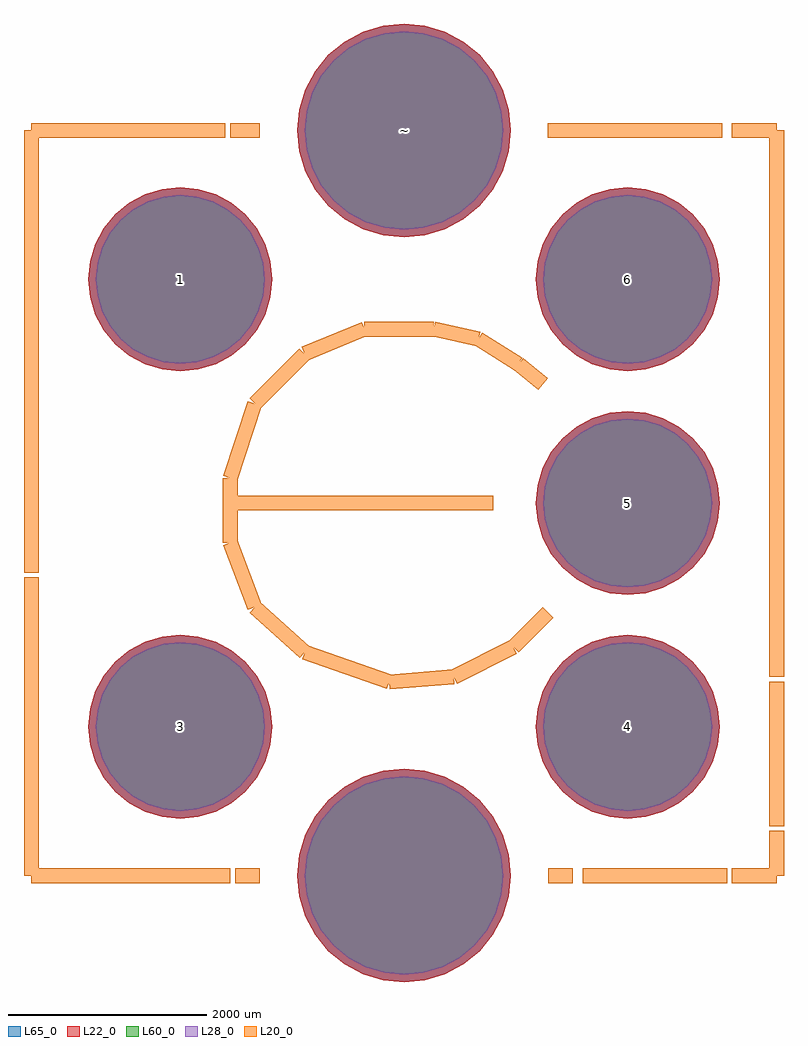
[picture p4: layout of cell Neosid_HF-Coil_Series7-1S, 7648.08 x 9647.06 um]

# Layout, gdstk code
import gdstk
lib = gdstk.Library(unit=1e-6, precision=1e-09)
def P(c, l, *ps):  # polygons
    for p in ps: c.add(gdstk.Polygon(p, *l))
L20_0 = (20, 0)
L22_0 = (22, 0)
L28_0 = (28, 0)
L60_0 = (60, 0)
L65_0 = (65, 0)

neosid_hf_coil_series7_1 = lib.new_cell('Neosid_HF-Coil_Series7-1S')
P(neosid_hf_coil_series7_1, L22_0, [(1074.49,-3749.04),(1053.844,-3539.417),(992.699,-3337.85),(893.406,-3152.085),(759.779,-2989.261),(596.955,-2855.634),(411.19,-2756.341),(209.623,-2695.196),(0,-2674.55),(-209.623,-2695.196),(-411.19,-2756.341),(-596.955,-2855.634),(-759.779,-2989.261),(-893.406,-3152.085),(-992.699,-3337.85),(-1053.844,-3539.417),(-1074.49,-3749.04),(-1053.844,-3958.663),(-992.699,-4160.23),(-893.406,-4345.995),(-759.779,-4508.819),(-596.955,-4642.446),(-411.19,-4741.739),(-209.623,-4802.884),(0,-4823.53),(209.623,-4802.884),(411.19,-4741.739),(596.955,-4642.446),(759.779,-4508.819),(893.406,-4345.995),(992.699,-4160.23),(1053.844,-3958.663)],
  [(1074.49,3749.04),(1053.844,3958.663),(992.699,4160.23),(893.406,4345.995),(759.779,4508.819),(596.955,4642.446),(411.19,4741.739),(209.623,4802.884),(0,4823.53),(-209.623,4802.884),(-411.19,4741.739),(-596.955,4642.446),(-759.779,4508.819),(-893.406,4345.995),(-992.699,4160.23),(-1053.844,3958.663),(-1074.49,3749.04),(-1053.844,3539.417),(-992.699,3337.85),(-893.406,3152.085),(-759.779,2989.261),(-596.955,2855.634),(-411.19,2756.341),(-209.623,2695.196),(0,2674.55),(209.623,2695.196),(411.19,2756.341),(596.955,2855.634),(759.779,2989.261),(893.406,3152.085),(992.699,3337.85),(1053.844,3539.417)],
  [(3175.07,-2250.44),(3157.303,-2070.054),(3104.687,-1896.599),(3019.242,-1736.743),(2904.252,-1596.628),(2764.137,-1481.638),(2604.281,-1396.193),(2430.826,-1343.577),(2250.44,-1325.81),(2070.054,-1343.577),(1896.599,-1396.193),(1736.743,-1481.638),(1596.628,-1596.628),(1481.638,-1736.743),(1396.193,-1896.599),(1343.577,-2070.054),(1325.81,-2250.44),(1343.577,-2430.826),(1396.193,-2604.281),(1481.638,-2764.137),(1596.628,-2904.252),(1736.743,-3019.242),(1896.599,-3104.687),(2070.054,-3157.303),(2250.44,-3175.07),(2430.826,-3157.303),(2604.281,-3104.687),(2764.137,-3019.242),(2904.252,-2904.252),(3019.242,-2764.137),(3104.687,-2604.281),(3157.303,-2430.826)],
  [(3175.07,0),(3157.303,180.386),(3104.687,353.841),(3019.242,513.697),(2904.252,653.812),(2764.137,768.802),(2604.281,854.247),(2430.826,906.863),(2250.44,924.63),(2070.054,906.863),(1896.599,854.247),(1736.743,768.802),(1596.628,653.812),(1481.638,513.697),(1396.193,353.841),(1343.577,180.386),(1325.81,0),(1343.577,-180.386),(1396.193,-353.841),(1481.638,-513.697),(1596.628,-653.812),(1736.743,-768.802),(1896.599,-854.247),(2070.054,-906.863),(2250.44,-924.63),(2430.826,-906.863),(2604.281,-854.247),(2764.137,-768.802),(2904.252,-653.812),(3019.242,-513.697),(3104.687,-353.841),(3157.303,-180.386)],
  [(3175.07,2250.44),(3157.303,2430.826),(3104.687,2604.281),(3019.242,2764.137),(2904.252,2904.252),(2764.137,3019.242),(2604.281,3104.687),(2430.826,3157.303),(2250.44,3175.07),(2070.054,3157.303),(1896.599,3104.687),(1736.743,3019.242),(1596.628,2904.252),(1481.638,2764.137),(1396.193,2604.281),(1343.577,2430.826),(1325.81,2250.44),(1343.577,2070.054),(1396.193,1896.599),(1481.638,1736.743),(1596.628,1596.628),(1736.743,1481.638),(1896.599,1396.193),(2070.054,1343.577),(2250.44,1325.81),(2430.826,1343.577),(2604.281,1396.193),(2764.137,1481.638),(2904.252,1596.628),(3019.242,1736.743),(3104.687,1896.599),(3157.303,2070.054)],
  [(-1325.81,-2250.44),(-1343.577,-2070.054),(-1396.193,-1896.599),(-1481.638,-1736.743),(-1596.628,-1596.628),(-1736.743,-1481.638),(-1896.599,-1396.193),(-2070.054,-1343.577),(-2250.44,-1325.81),(-2430.826,-1343.577),(-2604.281,-1396.193),(-2764.137,-1481.638),(-2904.252,-1596.628),(-3019.242,-1736.743),(-3104.687,-1896.599),(-3157.303,-2070.054),(-3175.07,-2250.44),(-3157.303,-2430.826),(-3104.687,-2604.281),(-3019.242,-2764.137),(-2904.252,-2904.252),(-2764.137,-3019.242),(-2604.281,-3104.687),(-2430.826,-3157.303),(-2250.44,-3175.07),(-2070.054,-3157.303),(-1896.599,-3104.687),(-1736.743,-3019.242),(-1596.628,-2904.252),(-1481.638,-2764.137),(-1396.193,-2604.281),(-1343.577,-2430.826)],
  [(-1325.81,2250.44),(-1343.577,2430.826),(-1396.193,2604.281),(-1481.638,2764.137),(-1596.628,2904.252),(-1736.743,3019.242),(-1896.599,3104.687),(-2070.054,3157.303),(-2250.44,3175.07),(-2430.826,3157.303),(-2604.281,3104.687),(-2764.137,3019.242),(-2904.252,2904.252),(-3019.242,2764.137),(-3104.687,2604.281),(-3157.303,2430.826),(-3175.07,2250.44),(-3157.303,2070.054),(-3104.687,1896.599),(-3019.242,1736.743),(-2904.252,1596.628),(-2764.137,1481.638),(-2604.281,1396.193),(-2430.826,1343.577),(-2250.44,1325.81),(-2070.054,1343.577),(-1896.599,1396.193),(-1736.743,1481.638),(-1596.628,1596.628),(-1481.638,1736.743),(-1396.193,1896.599),(-1343.577,2070.054)])
P(neosid_hf_coil_series7_1, L28_0, [(999.49,-3749.04),(980.285,-3554.049),(923.408,-3366.552),(831.046,-3193.753),(706.746,-3042.294),(555.287,-2917.994),(382.488,-2825.632),(194.991,-2768.755),(0,-2749.55),(-194.991,-2768.755),(-382.488,-2825.632),(-555.287,-2917.994),(-706.746,-3042.294),(-831.046,-3193.753),(-923.408,-3366.552),(-980.285,-3554.049),(-999.49,-3749.04),(-980.285,-3944.031),(-923.408,-4131.528),(-831.046,-4304.327),(-706.746,-4455.786),(-555.287,-4580.086),(-382.488,-4672.448),(-194.991,-4729.325),(0,-4748.53),(194.991,-4729.325),(382.488,-4672.448),(555.287,-4580.086),(706.746,-4455.786),(831.046,-4304.327),(923.408,-4131.528),(980.285,-3944.031)],
  [(999.49,3749.04),(980.285,3944.031),(923.408,4131.528),(831.046,4304.327),(706.746,4455.786),(555.287,4580.086),(382.488,4672.448),(194.991,4729.325),(0,4748.53),(-194.991,4729.325),(-382.488,4672.448),(-555.287,4580.086),(-706.746,4455.786),(-831.046,4304.327),(-923.408,4131.528),(-980.285,3944.031),(-999.49,3749.04),(-980.285,3554.049),(-923.408,3366.552),(-831.046,3193.753),(-706.746,3042.294),(-555.287,2917.994),(-382.488,2825.632),(-194.991,2768.755),(0,2749.55),(194.991,2768.755),(382.488,2825.632),(555.287,2917.994),(706.746,3042.294),(831.046,3193.753),(923.408,3366.552),(980.285,3554.049)],
  [(3100.07,-2250.44),(3083.745,-2084.685),(3035.396,-1925.301),(2956.882,-1778.411),(2851.219,-1649.661),(2722.469,-1543.998),(2575.579,-1465.484),(2416.195,-1417.135),(2250.44,-1400.81),(2084.685,-1417.135),(1925.301,-1465.484),(1778.411,-1543.998),(1649.661,-1649.661),(1543.998,-1778.411),(1465.484,-1925.301),(1417.135,-2084.685),(1400.81,-2250.44),(1417.135,-2416.195),(1465.484,-2575.579),(1543.998,-2722.469),(1649.661,-2851.219),(1778.411,-2956.882),(1925.301,-3035.396),(2084.685,-3083.745),(2250.44,-3100.07),(2416.195,-3083.745),(2575.579,-3035.396),(2722.469,-2956.882),(2851.219,-2851.219),(2956.882,-2722.469),(3035.396,-2575.579),(3083.745,-2416.195)],
  [(3100.07,0),(3083.745,165.755),(3035.396,325.139),(2956.882,472.029),(2851.219,600.779),(2722.469,706.442),(2575.579,784.956),(2416.195,833.305),(2250.44,849.63),(2084.685,833.305),(1925.301,784.956),(1778.411,706.442),(1649.661,600.779),(1543.998,472.029),(1465.484,325.139),(1417.135,165.755),(1400.81,0),(1417.135,-165.755),(1465.484,-325.139),(1543.998,-472.029),(1649.661,-600.779),(1778.411,-706.442),(1925.301,-784.956),(2084.685,-833.305),(2250.44,-849.63),(2416.195,-833.305),(2575.579,-784.956),(2722.469,-706.442),(2851.219,-600.779),(2956.882,-472.029),(3035.396,-325.139),(3083.745,-165.755)],
  [(3100.07,2250.44),(3083.745,2416.195),(3035.396,2575.579),(2956.882,2722.469),(2851.219,2851.219),(2722.469,2956.882),(2575.579,3035.396),(2416.195,3083.745),(2250.44,3100.07),(2084.685,3083.745),(1925.301,3035.396),(1778.411,2956.882),(1649.661,2851.219),(1543.998,2722.469),(1465.484,2575.579),(1417.135,2416.195),(1400.81,2250.44),(1417.135,2084.685),(1465.484,1925.301),(1543.998,1778.411),(1649.661,1649.661),(1778.411,1543.998),(1925.301,1465.484),(2084.685,1417.135),(2250.44,1400.81),(2416.195,1417.135),(2575.579,1465.484),(2722.469,1543.998),(2851.219,1649.661),(2956.882,1778.411),(3035.396,1925.301),(3083.745,2084.685)],
  [(-1400.81,-2250.44),(-1417.135,-2084.685),(-1465.484,-1925.301),(-1543.998,-1778.411),(-1649.661,-1649.661),(-1778.411,-1543.998),(-1925.301,-1465.484),(-2084.685,-1417.135),(-2250.44,-1400.81),(-2416.195,-1417.135),(-2575.579,-1465.484),(-2722.469,-1543.998),(-2851.219,-1649.661),(-2956.882,-1778.411),(-3035.396,-1925.301),(-3083.745,-2084.685),(-3100.07,-2250.44),(-3083.745,-2416.195),(-3035.396,-2575.579),(-2956.882,-2722.469),(-2851.219,-2851.219),(-2722.469,-2956.882),(-2575.579,-3035.396),(-2416.195,-3083.745),(-2250.44,-3100.07),(-2084.685,-3083.745),(-1925.301,-3035.396),(-1778.411,-2956.882),(-1649.661,-2851.219),(-1543.998,-2722.469),(-1465.484,-2575.579),(-1417.135,-2416.195)],
  [(-1400.81,2250.44),(-1417.135,2416.195),(-1465.484,2575.579),(-1543.998,2722.469),(-1649.661,2851.219),(-1778.411,2956.882),(-1925.301,3035.396),(-2084.685,3083.745),(-2250.44,3100.07),(-2416.195,3083.745),(-2575.579,3035.396),(-2722.469,2956.882),(-2851.219,2851.219),(-2956.882,2722.469),(-3035.396,2575.579),(-3083.745,2416.195),(-3100.07,2250.44),(-3083.745,2084.685),(-3035.396,1925.301),(-2956.882,1778.411),(-2851.219,1649.661),(-2722.469,1543.998),(-2575.579,1465.484),(-2416.195,1417.135),(-2250.44,1400.81),(-2084.685,1417.135),(-1925.301,1465.484),(-1778.411,1543.998),(-1649.661,1649.661),(-1543.998,1778.411),(-1465.484,1925.301),(-1417.135,2084.685)])
P(neosid_hf_coil_series7_1, L60_0, [(999.49,-3749.04),(980.285,-3554.049),(923.408,-3366.552),(831.046,-3193.753),(706.746,-3042.294),(555.287,-2917.994),(382.488,-2825.632),(194.991,-2768.755),(0,-2749.55),(-194.991,-2768.755),(-382.488,-2825.632),(-555.287,-2917.994),(-706.746,-3042.294),(-831.046,-3193.753),(-923.408,-3366.552),(-980.285,-3554.049),(-999.49,-3749.04),(-980.285,-3944.031),(-923.408,-4131.528),(-831.046,-4304.327),(-706.746,-4455.786),(-555.287,-4580.086),(-382.488,-4672.448),(-194.991,-4729.325),(0,-4748.53),(194.991,-4729.325),(382.488,-4672.448),(555.287,-4580.086),(706.746,-4455.786),(831.046,-4304.327),(923.408,-4131.528),(980.285,-3944.031)],
  [(999.49,3749.04),(980.285,3944.031),(923.408,4131.528),(831.046,4304.327),(706.746,4455.786),(555.287,4580.086),(382.488,4672.448),(194.991,4729.325),(0,4748.53),(-194.991,4729.325),(-382.488,4672.448),(-555.287,4580.086),(-706.746,4455.786),(-831.046,4304.327),(-923.408,4131.528),(-980.285,3944.031),(-999.49,3749.04),(-980.285,3554.049),(-923.408,3366.552),(-831.046,3193.753),(-706.746,3042.294),(-555.287,2917.994),(-382.488,2825.632),(-194.991,2768.755),(0,2749.55),(194.991,2768.755),(382.488,2825.632),(555.287,2917.994),(706.746,3042.294),(831.046,3193.753),(923.408,3366.552),(980.285,3554.049)],
  [(3100.07,-2250.44),(3083.745,-2084.685),(3035.396,-1925.301),(2956.882,-1778.411),(2851.219,-1649.661),(2722.469,-1543.998),(2575.579,-1465.484),(2416.195,-1417.135),(2250.44,-1400.81),(2084.685,-1417.135),(1925.301,-1465.484),(1778.411,-1543.998),(1649.661,-1649.661),(1543.998,-1778.411),(1465.484,-1925.301),(1417.135,-2084.685),(1400.81,-2250.44),(1417.135,-2416.195),(1465.484,-2575.579),(1543.998,-2722.469),(1649.661,-2851.219),(1778.411,-2956.882),(1925.301,-3035.396),(2084.685,-3083.745),(2250.44,-3100.07),(2416.195,-3083.745),(2575.579,-3035.396),(2722.469,-2956.882),(2851.219,-2851.219),(2956.882,-2722.469),(3035.396,-2575.579),(3083.745,-2416.195)],
  [(3100.07,0),(3083.745,165.755),(3035.396,325.139),(2956.882,472.029),(2851.219,600.779),(2722.469,706.442),(2575.579,784.956),(2416.195,833.305),(2250.44,849.63),(2084.685,833.305),(1925.301,784.956),(1778.411,706.442),(1649.661,600.779),(1543.998,472.029),(1465.484,325.139),(1417.135,165.755),(1400.81,0),(1417.135,-165.755),(1465.484,-325.139),(1543.998,-472.029),(1649.661,-600.779),(1778.411,-706.442),(1925.301,-784.956),(2084.685,-833.305),(2250.44,-849.63),(2416.195,-833.305),(2575.579,-784.956),(2722.469,-706.442),(2851.219,-600.779),(2956.882,-472.029),(3035.396,-325.139),(3083.745,-165.755)],
  [(3100.07,2250.44),(3083.745,2416.195),(3035.396,2575.579),(2956.882,2722.469),(2851.219,2851.219),(2722.469,2956.882),(2575.579,3035.396),(2416.195,3083.745),(2250.44,3100.07),(2084.685,3083.745),(1925.301,3035.396),(1778.411,2956.882),(1649.661,2851.219),(1543.998,2722.469),(1465.484,2575.579),(1417.135,2416.195),(1400.81,2250.44),(1417.135,2084.685),(1465.484,1925.301),(1543.998,1778.411),(1649.661,1649.661),(1778.411,1543.998),(1925.301,1465.484),(2084.685,1417.135),(2250.44,1400.81),(2416.195,1417.135),(2575.579,1465.484),(2722.469,1543.998),(2851.219,1649.661),(2956.882,1778.411),(3035.396,1925.301),(3083.745,2084.685)],
  [(-1400.81,-2250.44),(-1417.135,-2084.685),(-1465.484,-1925.301),(-1543.998,-1778.411),(-1649.661,-1649.661),(-1778.411,-1543.998),(-1925.301,-1465.484),(-2084.685,-1417.135),(-2250.44,-1400.81),(-2416.195,-1417.135),(-2575.579,-1465.484),(-2722.469,-1543.998),(-2851.219,-1649.661),(-2956.882,-1778.411),(-3035.396,-1925.301),(-3083.745,-2084.685),(-3100.07,-2250.44),(-3083.745,-2416.195),(-3035.396,-2575.579),(-2956.882,-2722.469),(-2851.219,-2851.219),(-2722.469,-2956.882),(-2575.579,-3035.396),(-2416.195,-3083.745),(-2250.44,-3100.07),(-2084.685,-3083.745),(-1925.301,-3035.396),(-1778.411,-2956.882),(-1649.661,-2851.219),(-1543.998,-2722.469),(-1465.484,-2575.579),(-1417.135,-2416.195)],
  [(-1400.81,2250.44),(-1417.135,2416.195),(-1465.484,2575.579),(-1543.998,2722.469),(-1649.661,2851.219),(-1778.411,2956.882),(-1925.301,3035.396),(-2084.685,3083.745),(-2250.44,3100.07),(-2416.195,3083.745),(-2575.579,3035.396),(-2722.469,2956.882),(-2851.219,2851.219),(-2956.882,2722.469),(-3035.396,2575.579),(-3083.745,2416.195),(-3100.07,2250.44),(-3083.745,2084.685),(-3035.396,1925.301),(-2956.882,1778.411),(-2851.219,1649.661),(-2722.469,1543.998),(-2575.579,1465.484),(-2416.195,1417.135),(-2250.44,1400.81),(-2084.685,1417.135),(-1925.301,1465.484),(-1778.411,1543.998),(-1649.661,1649.661),(-1543.998,1778.411),(-1465.484,1925.301),(-1417.135,2084.685)])
P(neosid_hf_coil_series7_1, L65_0, [(1074.49,-3749.04),(1053.844,-3539.417),(992.699,-3337.85),(893.406,-3152.085),(759.779,-2989.261),(596.955,-2855.634),(411.19,-2756.341),(209.623,-2695.196),(0,-2674.55),(-209.623,-2695.196),(-411.19,-2756.341),(-596.955,-2855.634),(-759.779,-2989.261),(-893.406,-3152.085),(-992.699,-3337.85),(-1053.844,-3539.417),(-1074.49,-3749.04),(-1053.844,-3958.663),(-992.699,-4160.23),(-893.406,-4345.995),(-759.779,-4508.819),(-596.955,-4642.446),(-411.19,-4741.739),(-209.623,-4802.884),(0,-4823.53),(209.623,-4802.884),(411.19,-4741.739),(596.955,-4642.446),(759.779,-4508.819),(893.406,-4345.995),(992.699,-4160.23),(1053.844,-3958.663)],
  [(1074.49,3749.04),(1053.844,3958.663),(992.699,4160.23),(893.406,4345.995),(759.779,4508.819),(596.955,4642.446),(411.19,4741.739),(209.623,4802.884),(0,4823.53),(-209.623,4802.884),(-411.19,4741.739),(-596.955,4642.446),(-759.779,4508.819),(-893.406,4345.995),(-992.699,4160.23),(-1053.844,3958.663),(-1074.49,3749.04),(-1053.844,3539.417),(-992.699,3337.85),(-893.406,3152.085),(-759.779,2989.261),(-596.955,2855.634),(-411.19,2756.341),(-209.623,2695.196),(0,2674.55),(209.623,2695.196),(411.19,2756.341),(596.955,2855.634),(759.779,2989.261),(893.406,3152.085),(992.699,3337.85),(1053.844,3539.417)],
  [(3175.07,-2250.44),(3157.303,-2070.054),(3104.687,-1896.599),(3019.242,-1736.743),(2904.252,-1596.628),(2764.137,-1481.638),(2604.281,-1396.193),(2430.826,-1343.577),(2250.44,-1325.81),(2070.054,-1343.577),(1896.599,-1396.193),(1736.743,-1481.638),(1596.628,-1596.628),(1481.638,-1736.743),(1396.193,-1896.599),(1343.577,-2070.054),(1325.81,-2250.44),(1343.577,-2430.826),(1396.193,-2604.281),(1481.638,-2764.137),(1596.628,-2904.252),(1736.743,-3019.242),(1896.599,-3104.687),(2070.054,-3157.303),(2250.44,-3175.07),(2430.826,-3157.303),(2604.281,-3104.687),(2764.137,-3019.242),(2904.252,-2904.252),(3019.242,-2764.137),(3104.687,-2604.281),(3157.303,-2430.826)],
  [(3175.07,0),(3157.303,180.386),(3104.687,353.841),(3019.242,513.697),(2904.252,653.812),(2764.137,768.802),(2604.281,854.247),(2430.826,906.863),(2250.44,924.63),(2070.054,906.863),(1896.599,854.247),(1736.743,768.802),(1596.628,653.812),(1481.638,513.697),(1396.193,353.841),(1343.577,180.386),(1325.81,0),(1343.577,-180.386),(1396.193,-353.841),(1481.638,-513.697),(1596.628,-653.812),(1736.743,-768.802),(1896.599,-854.247),(2070.054,-906.863),(2250.44,-924.63),(2430.826,-906.863),(2604.281,-854.247),(2764.137,-768.802),(2904.252,-653.812),(3019.242,-513.697),(3104.687,-353.841),(3157.303,-180.386)],
  [(3175.07,2250.44),(3157.303,2430.826),(3104.687,2604.281),(3019.242,2764.137),(2904.252,2904.252),(2764.137,3019.242),(2604.281,3104.687),(2430.826,3157.303),(2250.44,3175.07),(2070.054,3157.303),(1896.599,3104.687),(1736.743,3019.242),(1596.628,2904.252),(1481.638,2764.137),(1396.193,2604.281),(1343.577,2430.826),(1325.81,2250.44),(1343.577,2070.054),(1396.193,1896.599),(1481.638,1736.743),(1596.628,1596.628),(1736.743,1481.638),(1896.599,1396.193),(2070.054,1343.577),(2250.44,1325.81),(2430.826,1343.577),(2604.281,1396.193),(2764.137,1481.638),(2904.252,1596.628),(3019.242,1736.743),(3104.687,1896.599),(3157.303,2070.054)],
  [(-1325.81,-2250.44),(-1343.577,-2070.054),(-1396.193,-1896.599),(-1481.638,-1736.743),(-1596.628,-1596.628),(-1736.743,-1481.638),(-1896.599,-1396.193),(-2070.054,-1343.577),(-2250.44,-1325.81),(-2430.826,-1343.577),(-2604.281,-1396.193),(-2764.137,-1481.638),(-2904.252,-1596.628),(-3019.242,-1736.743),(-3104.687,-1896.599),(-3157.303,-2070.054),(-3175.07,-2250.44),(-3157.303,-2430.826),(-3104.687,-2604.281),(-3019.242,-2764.137),(-2904.252,-2904.252),(-2764.137,-3019.242),(-2604.281,-3104.687),(-2430.826,-3157.303),(-2250.44,-3175.07),(-2070.054,-3157.303),(-1896.599,-3104.687),(-1736.743,-3019.242),(-1596.628,-2904.252),(-1481.638,-2764.137),(-1396.193,-2604.281),(-1343.577,-2430.826)],
  [(-1325.81,2250.44),(-1343.577,2430.826),(-1396.193,2604.281),(-1481.638,2764.137),(-1596.628,2904.252),(-1736.743,3019.242),(-1896.599,3104.687),(-2070.054,3157.303),(-2250.44,3175.07),(-2430.826,3157.303),(-2604.281,3104.687),(-2764.137,3019.242),(-2904.252,2904.252),(-3019.242,2764.137),(-3104.687,2604.281),(-3157.303,2430.826),(-3175.07,2250.44),(-3157.303,2070.054),(-3104.687,1896.599),(-3019.242,1736.743),(-2904.252,1596.628),(-2764.137,1481.638),(-2604.281,1396.193),(-2430.826,1343.577),(-2250.44,1325.81),(-2070.054,1343.577),(-1896.599,1396.193),(-1736.743,1481.638),(-1596.628,1596.628),(-1481.638,1736.743),(-1396.193,1896.599),(-1343.577,2070.054)])
neosid_hf_coil_series7_1.add(gdstk.FlexPath([(3749.04,3749.04),(3299.46,3749.04)], 149.998, ends="flush", simple_path=True, layer=20, datatype=0))  # L20_0
neosid_hf_coil_series7_1.add(gdstk.FlexPath([(1651,3749.04),(1800.86,3749.04)], 149.998, ends="flush", simple_path=True, layer=20, datatype=0))  # L20_0
neosid_hf_coil_series7_1.add(gdstk.FlexPath([(1549.4,3749.04),(1651,3749.04)], 149.998, ends="flush", simple_path=True, layer=20, datatype=0))  # L20_0
neosid_hf_coil_series7_1.add(gdstk.FlexPath([(1699.26,3749.04),(1447.8,3749.04)], 149.998, ends="flush", simple_path=True, layer=20, datatype=0))  # L20_0
neosid_hf_coil_series7_1.add(gdstk.FlexPath([(-1450.34,3749.04),(-1750.06,3749.04)], 149.998, ends="flush", simple_path=True, layer=20, datatype=0))  # L20_0
neosid_hf_coil_series7_1.add(gdstk.FlexPath([(-3749.04,3749.04),(-3251.2,3749.04)], 149.998, ends="flush", simple_path=True, layer=20, datatype=0))  # L20_0
neosid_hf_coil_series7_1.add(gdstk.FlexPath([(-3749.04,3749.04),(-3749.04,3299.46)], 149.998, ends="flush", simple_path=True, layer=20, datatype=0))  # L20_0
neosid_hf_coil_series7_1.add(gdstk.FlexPath([(-3749.04,1249.68),(-3749.04,1750.06)], 149.998, ends="flush", simple_path=True, layer=20, datatype=0))  # L20_0
neosid_hf_coil_series7_1.add(gdstk.FlexPath([(-3749.04,1249.68),(-3749.04,800.1)], 149.998, ends="flush", simple_path=True, layer=20, datatype=0))  # L20_0
neosid_hf_coil_series7_1.add(gdstk.FlexPath([(-3749.04,-1249.68),(-3749.04,-749.3)], 149.998, ends="flush", simple_path=True, layer=20, datatype=0))  # L20_0
neosid_hf_coil_series7_1.add(gdstk.FlexPath([(-3749.04,-1249.68),(-3749.04,-1750.06)], 149.998, ends="flush", simple_path=True, layer=20, datatype=0))  # L20_0
neosid_hf_coil_series7_1.add(gdstk.FlexPath([(-3749.04,-3749.04),(-3749.04,-3299.46)], 149.998, ends="flush", simple_path=True, layer=20, datatype=0))  # L20_0
neosid_hf_coil_series7_1.add(gdstk.FlexPath([(-3749.04,-3749.04),(-3251.2,-3749.04)], 149.998, ends="flush", simple_path=True, layer=20, datatype=0))  # L20_0
neosid_hf_coil_series7_1.add(gdstk.FlexPath([(-1699.26,-3749.04),(-1450.34,-3749.04)], 149.998, ends="flush", simple_path=True, layer=20, datatype=0))  # L20_0
neosid_hf_coil_series7_1.add(gdstk.FlexPath([(1450.34,-3749.04),(1699.26,-3749.04)], 149.998, ends="flush", simple_path=True, layer=20, datatype=0))  # L20_0
neosid_hf_coil_series7_1.add(gdstk.FlexPath([(3749.04,-3749.04),(3749.04,-3299.46)], 149.998, ends="flush", simple_path=True, layer=20, datatype=0))  # L20_0
neosid_hf_coil_series7_1.add(gdstk.FlexPath([(3749.04,-3749.04),(3299.46,-3749.04)], 149.998, ends="flush", simple_path=True, layer=20, datatype=0))  # L20_0
neosid_hf_coil_series7_1.add(gdstk.FlexPath([(3749.04,-1249.68),(3749.04,-749.3)], 149.998, ends="flush", simple_path=True, layer=20, datatype=0))  # L20_0
neosid_hf_coil_series7_1.add(gdstk.FlexPath([(3749.04,-1249.68),(3749.04,-1750.06)], 149.998, ends="flush", simple_path=True, layer=20, datatype=0))  # L20_0
neosid_hf_coil_series7_1.add(gdstk.FlexPath([(3749.04,1249.68),(3749.04,1699.26)], 149.998, ends="flush", simple_path=True, layer=20, datatype=0))  # L20_0
neosid_hf_coil_series7_1.add(gdstk.FlexPath([(3749.04,1249.68),(3749.04,800.1)], 149.998, ends="flush", simple_path=True, layer=20, datatype=0))  # L20_0
neosid_hf_coil_series7_1.add(gdstk.FlexPath([(3749.04,3749.04),(3749.04,3299.46)], 149.998, ends="flush", simple_path=True, layer=20, datatype=0))  # L20_0
neosid_hf_coil_series7_1.add(gdstk.FlexPath([(3200.4,3749.04),(1800.86,3749.04)], 149.998, ends="flush", simple_path=True, layer=20, datatype=0))  # L20_0
neosid_hf_coil_series7_1.add(gdstk.FlexPath([(-1800.86,3749.04),(-3299.46,3749.04)], 149.998, ends="flush", simple_path=True, layer=20, datatype=0))  # L20_0
neosid_hf_coil_series7_1.add(gdstk.FlexPath([(-3749.04,3299.46),(-3749.04,1699.26)], 149.998, ends="flush", simple_path=True, layer=20, datatype=0))  # L20_0
neosid_hf_coil_series7_1.add(gdstk.FlexPath([(-3749.04,800.1),(-3749.04,-701.04)], 149.998, ends="flush", simple_path=True, layer=20, datatype=0))  # L20_0
neosid_hf_coil_series7_1.add(gdstk.FlexPath([(-3749.04,-1750.06),(-3749.04,-3350.26)], 149.998, ends="flush", simple_path=True, layer=20, datatype=0))  # L20_0
neosid_hf_coil_series7_1.add(gdstk.FlexPath([(-3251.2,-3749.04),(-1750.06,-3749.04)], 149.998, ends="flush", simple_path=True, layer=20, datatype=0))  # L20_0
neosid_hf_coil_series7_1.add(gdstk.FlexPath([(1800.86,-3749.04),(3251.2,-3749.04)], 149.998, ends="flush", simple_path=True, layer=20, datatype=0))  # L20_0
neosid_hf_coil_series7_1.add(gdstk.FlexPath([(3749.04,-3251.2),(3749.04,-1800.86)], 149.998, ends="flush", simple_path=True, layer=20, datatype=0))  # L20_0
neosid_hf_coil_series7_1.add(gdstk.FlexPath([(3749.04,-749.3),(3749.04,800.1)], 149.998, ends="flush", simple_path=True, layer=20, datatype=0))  # L20_0
neosid_hf_coil_series7_1.add(gdstk.FlexPath([(3749.04,3299.46),(3749.04,1699.26)], 149.998, ends="flush", simple_path=True, layer=20, datatype=0))  # L20_0
neosid_hf_coil_series7_1.add(gdstk.FlexPath([(1099.82,-1450.34),(1450.34,-1099.82)], 149.998, ends="flush", simple_path=True, layer=20, datatype=0))  # L20_0
neosid_hf_coil_series7_1.add(gdstk.FlexPath([(500.38,-1750.06),(1099.82,-1450.34)], 149.998, ends="flush", simple_path=True, layer=20, datatype=0))  # L20_0
neosid_hf_coil_series7_1.add(gdstk.FlexPath([(-149.86,-1800.86),(500.38,-1750.06)], 149.998, ends="flush", simple_path=True, layer=20, datatype=0))  # L20_0
neosid_hf_coil_series7_1.add(gdstk.FlexPath([(-1000.76,-1501.14),(-149.86,-1800.86)], 149.998, ends="flush", simple_path=True, layer=20, datatype=0))  # L20_0
neosid_hf_coil_series7_1.add(gdstk.FlexPath([(-1501.14,-1049.02),(-1000.76,-1501.14)], 149.998, ends="flush", simple_path=True, layer=20, datatype=0))  # L20_0
neosid_hf_coil_series7_1.add(gdstk.FlexPath([(-1750.06,-398.78),(-1501.14,-1049.02)], 149.998, ends="flush", simple_path=True, layer=20, datatype=0))  # L20_0
neosid_hf_coil_series7_1.add(gdstk.FlexPath([(-1750.06,248.92),(-1750.06,-398.78)], 149.998, ends="flush", simple_path=True, layer=20, datatype=0))  # L20_0
neosid_hf_coil_series7_1.add(gdstk.FlexPath([(-1501.14,1000.76),(-1750.06,248.92)], 149.998, ends="flush", simple_path=True, layer=20, datatype=0))  # L20_0
neosid_hf_coil_series7_1.add(gdstk.FlexPath([(-1000.76,1501.14),(-1501.14,1000.76)], 149.998, ends="flush", simple_path=True, layer=20, datatype=0))  # L20_0
neosid_hf_coil_series7_1.add(gdstk.FlexPath([(-398.78,1750.06),(-1000.76,1501.14)], 149.998, ends="flush", simple_path=True, layer=20, datatype=0))  # L20_0
neosid_hf_coil_series7_1.add(gdstk.FlexPath([(299.72,1750.06),(-398.78,1750.06)], 149.998, ends="flush", simple_path=True, layer=20, datatype=0))  # L20_0
neosid_hf_coil_series7_1.add(gdstk.FlexPath([(749.3,1651),(299.72,1750.06)], 149.998, ends="flush", simple_path=True, layer=20, datatype=0))  # L20_0
neosid_hf_coil_series7_1.add(gdstk.FlexPath([(1150.62,1399.54),(749.3,1651)], 149.998, ends="flush", simple_path=True, layer=20, datatype=0))  # L20_0
neosid_hf_coil_series7_1.add(gdstk.FlexPath([(1399.54,1198.88),(1150.62,1399.54)], 149.998, ends="flush", simple_path=True, layer=20, datatype=0))  # L20_0
neosid_hf_coil_series7_1.add(gdstk.FlexPath([(-1750.06,0),(899.16,0)], 149.998, ends="flush", simple_path=True, layer=20, datatype=0))  # L20_0
neosid_hf_coil_series7_1.add(gdstk.Label('~', (0,3749.04), layer=28, texttype=0))
neosid_hf_coil_series7_1.add(gdstk.Label('4', (2250.44,-2250.44), layer=28, texttype=0))
neosid_hf_coil_series7_1.add(gdstk.Label('5', (2250.44,0), layer=28, texttype=0))
neosid_hf_coil_series7_1.add(gdstk.Label('6', (2250.44,2250.44), layer=28, texttype=0))
neosid_hf_coil_series7_1.add(gdstk.Label('3', (-2250.44,-2250.44), layer=28, texttype=0))
neosid_hf_coil_series7_1.add(gdstk.Label('1', (-2250.44,2250.44), layer=28, texttype=0))
neosid_hf_coil_series7_1.add(gdstk.Label('type', (-650.24,-6550.66), layer=9, texttype=0))
neosid_hf_coil_series7_1.add(gdstk.Label('devicename', (200.66,6200.14), layer=9, texttype=0))

lib.write_gds('Neosid_HF-Coil_Series7-1S.gds')
